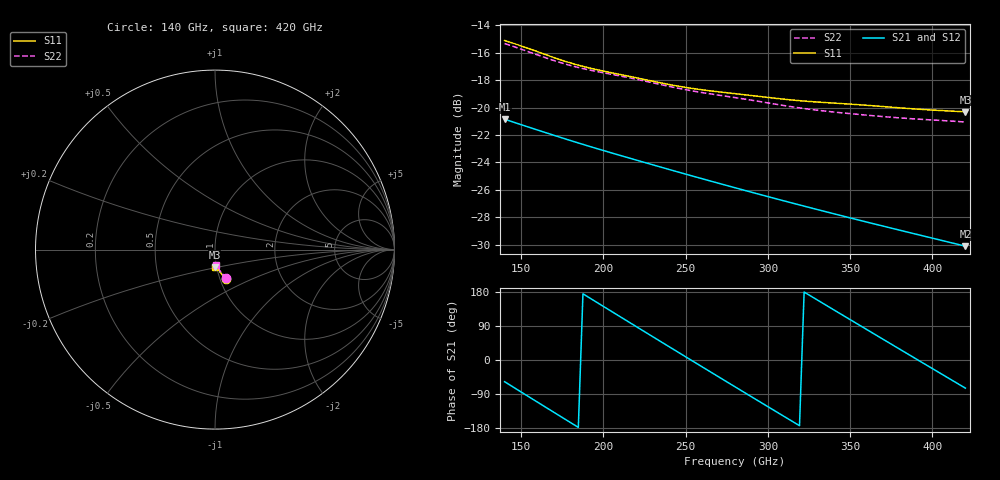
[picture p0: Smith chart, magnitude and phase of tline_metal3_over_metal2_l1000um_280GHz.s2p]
#  GHZ S DB R 50
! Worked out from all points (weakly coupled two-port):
!   101 points, 140 GHz to 420 GHz, reference 50 ohm
!   highest |S21| = -20.85 dB at 140 GHz (marker M1); lowest = -30.1 dB at 420 GHz (marker M2)
!   lowest |S11| = -20.3 dB at 420 GHz (marker M3), VSWR 1.21, Z = 48.8 - j9.5 ohm
!   |S11| at or under -10 dB: start of sweep to end of sweep
!   |S22| runs from -21.1 to -15.3 dB; largest |S21 - S12| = 9.9e-14
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140  -15.11 -69.7  -20.85 -57.3  -20.85 -57.3  -15.33 -69.0
148.4  -15.44 -71.0  -21.18 -80.0  -21.18 -80.0  -15.68 -70.1
159.6  -15.91 -72.6  -21.62 -110.2  -21.62 -110.2  -16.15 -71.3
173.6  -16.50 -74.1  -22.16 -147.8  -22.16 -147.8  -16.71 -72.4
187.6  -17.00 -74.8  -22.69 174.7  -22.69 174.7  -17.16 -73.0
201.6  -17.38 -75.7  -23.19 137.3  -23.19 137.3  -17.50 -73.9
212.8  -17.65 -76.6  -23.58 107.4  -23.58 107.4  -17.76 -75.0
224  -17.93 -77.5  -23.97 77.5  -23.97 77.5  -18.04 -76.1
235.2  -18.21 -78.3  -24.35 47.7  -24.35 47.7  -18.33 -77.1
246.4  -18.46 -78.9  -24.73 18.0  -24.73 18.0  -18.62 -77.9
254.8  -18.62 -79.3  -25.01 -4.2  -25.01 -4.2  -18.80 -78.4
268.8  -18.84 -80.0  -25.48 -41.2  -25.48 -41.2  -19.07 -79.3
280  -18.99 -80.8  -25.85 -70.7  -25.85 -70.7  -19.28 -80.1
291.2  -19.14 -81.6  -26.21 -100.1  -26.21 -100.1  -19.49 -81.0
305.2  -19.33 -82.6  -26.66 -136.8  -26.66 -136.8  -19.77 -81.9
316.4  -19.47 -83.3  -27.01 -166.1  -27.01 -166.1  -19.98 -82.5
327.6  -19.58 -84.0  -27.36 164.7  -27.36 164.7  -20.16 -82.9
350  -19.75 -85.7  -28.04 106.5  -28.04 106.5  -20.44 -83.8
361.2  -19.85 -86.8  -28.38 77.5  -28.38 77.5  -20.57 -84.4
375.2  -19.98 -88.0  -28.80 41.2  -28.80 41.2  -20.71 -85.1
394.8  -20.15 -89.5  -29.37 -9.4  -29.37 -9.4  -20.87 -86.1
420  -20.31 -91.6  -30.11 -74.3  -30.11 -74.3  -21.06 -87.9
